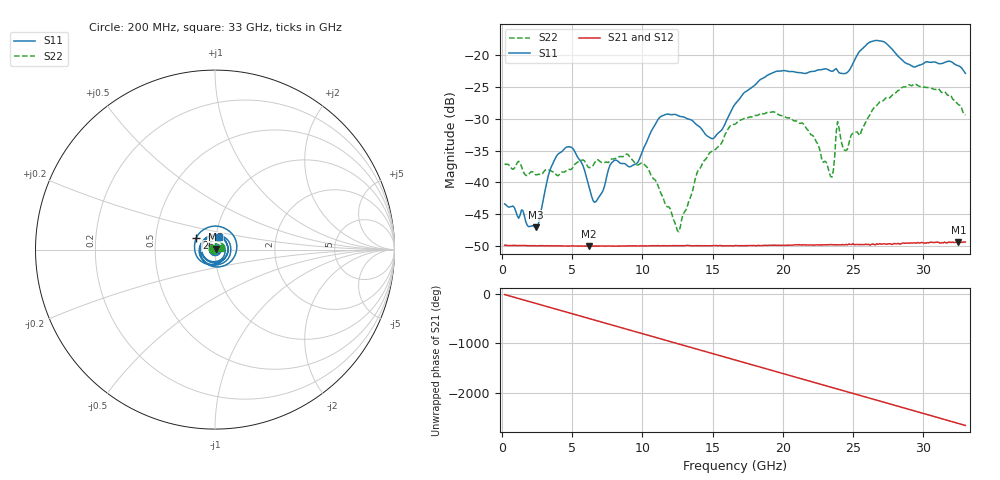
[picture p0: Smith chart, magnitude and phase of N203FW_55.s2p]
# GHZ S RI R 50
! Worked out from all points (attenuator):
!   329 points, 200 MHz to 33 GHz, reference 50 ohm
!   highest |S21| = -49.42 dB at 32.5 GHz (marker M1); lowest = -50.1 dB at 6.2 GHz (marker M2)
!   lowest |S11| = -47.1 dB at 2.4 GHz (marker M3), VSWR 1.01, Z = 50.3 + j0.294 ohm
!   |S11| at or under -10 dB: start of sweep to end of sweep
!   |S22| runs from -47.8 to -24.5 dB; largest |S21 - S12| = 8.8e-05
!   S11 on the Smith chart (normalised r, x): 200 MHz: 1.01, +0.00; 26 GHz: 0.80, +0.10; 33 GHz: 1.03, +0.14
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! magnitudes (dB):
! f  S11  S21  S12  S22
! 200 MHz  -43.4  -50.0  -49.9  -37.1
! 2.4 GHz  -47.1  -50.0  -50.0  -38.8
! 3.9 GHz  -35.9  -50.0  -50.0  -38.9
! 5.7 GHz  -37.0  -50.1  -50.1  -36.5
! 6.2 GHz  -40.6  -50.1  -50.1  -37.7
! 6.7 GHz  -43.1  -50.1  -50.0  -36.6
! 7.8 GHz  -37.0  -50.1  -50.1  -36.4
! 8.9 GHz  -37.3  -50.0  -50.1  -35.5
! 11.2 GHz  -29.9  -50.0  -50.0  -41.0
! 12.6 GHz  -29.6  -50.0  -50.0  -47.8
! 15 GHz  -33.1  -50.0  -50.0  -35.1
! 16.6 GHz  -27.7  -50.0  -50.0  -30.8
! 19.3 GHz  -22.7  -49.9  -49.9  -28.9
! 22.1 GHz  -22.5  -49.9  -49.9  -32.6
! 23.5 GHz  -22.5  -49.9  -49.8  -39.2
! 23.9 GHz  -22.4  -49.9  -49.9  -30.4
! 24.5 GHz  -22.8  -49.8  -49.8  -35.0
! 26 GHz  -18.2  -49.8  -49.8  -30.1
! 27.6 GHz  -18.6  -49.7  -49.7  -26.7
! 29.4 GHz  -21.8  -49.6  -49.6  -24.5
! 32.5 GHz  -21.6  -49.4  -49.4  -27.8
! 33 GHz  -22.8  -49.4  -49.5  -29.4
